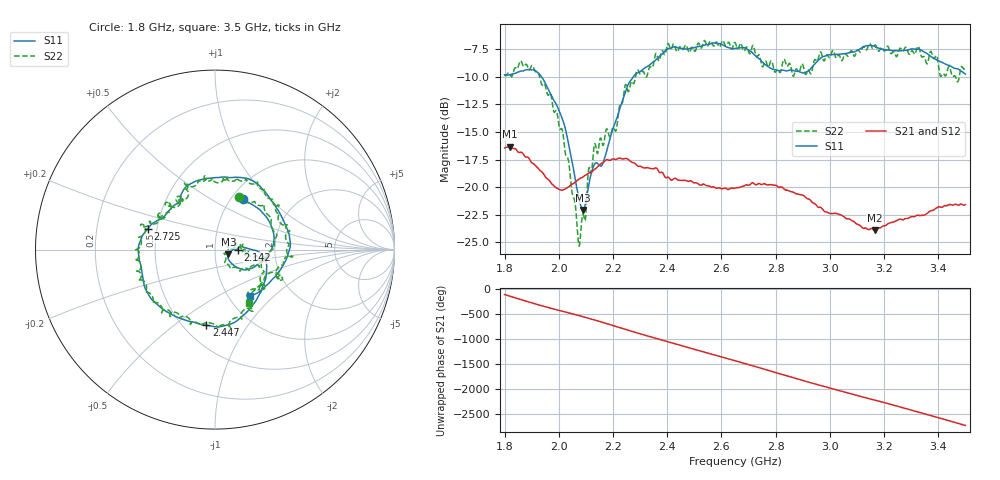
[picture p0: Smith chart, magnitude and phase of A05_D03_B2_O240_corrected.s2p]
! Created with skrf 1.9.0 (http://scikit-rf.org).
# Hz S RI R 50.0
!freq ReS11 ImS11 ReS21 ImS21 ReS12 ImS12 ReS22 ImS22
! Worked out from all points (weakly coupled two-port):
!   1601 points, 1.8 GHz to 3.5 GHz, reference 50 ohm
!   highest |S21| = -16.34 dB at 1.818 GHz (marker M1); lowest = -23.9 dB at 3.165 GHz (marker M2)
!   lowest |S11| = -22.1 dB at 2.09 GHz (marker M3), VSWR 1.17, Z = 58 - j2.98 ohm
!   |S11| at or under -10 dB: 1.936 GHz to 2.275 GHz (339.6 MHz wide, 16.1 % of centre)
!   |S22| runs from -25.3 to -6.7 dB; largest |S21 - S12| = 0.0026
!   S11 on the Smith chart (normalised r, x): 1.8 GHz: 1.12, +0.71; 2.142 GHz: 1.29, -0.00; 2.447 GHz: 0.64, -0.66; 2.725 GHz: 0.44, +0.12; 3.5 GHz: 1.26, -0.73
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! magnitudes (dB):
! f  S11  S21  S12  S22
! 1.8 GHz  -9.8  -16.4  -16.4  -9.8
! 1.818 GHz  -9.8  -16.3  -16.4  -9.7
! 1.903 GHz  -9.4  -17.8  -17.8  -9.0
! 1.968 GHz  -11.5  -19.5  -19.5  -11.5
! 2.015 GHz  -13.9  -20.2  -20.3  -15.0
! 2.072 GHz  -20.7  -19.3  -19.3  -25.0
! 2.084 GHz  -21.8  -19.2  -19.1  -23.2
! 2.09 GHz  -22.1  -19.1  -19.1  -22.4
! 2.112 GHz  -19.5  -18.7  -18.7  -18.2
! 2.142 GHz  -17.8  -18.2  -18.2  -17.0
! 2.209 GHz  -14.1  -17.5  -17.4  -14.9
! 2.26 GHz  -10.5  -17.6  -17.6  -11.2
! 2.367 GHz  -8.3  -18.5  -18.5  -8.5
! 2.447 GHz  -7.5  -19.4  -19.4  -7.3
! 2.65 GHz  -7.5  -20.1  -20.1  -6.9
! 2.725 GHz  -8.1  -19.8  -19.8  -8.0
! 2.934 GHz  -9.2  -21.4  -21.3  -9.5
! 3.165 GHz  -7.3  -23.9  -23.9  -7.2
! 3.217 GHz  -7.6  -23.3  -23.2  -7.4
! 3.376 GHz  -8.2  -22.1  -22.1  -7.9
! 3.468 GHz  -9.3  -21.6  -21.6  -10.4
! 3.5 GHz  -9.8  -21.6  -21.6  -9.1
